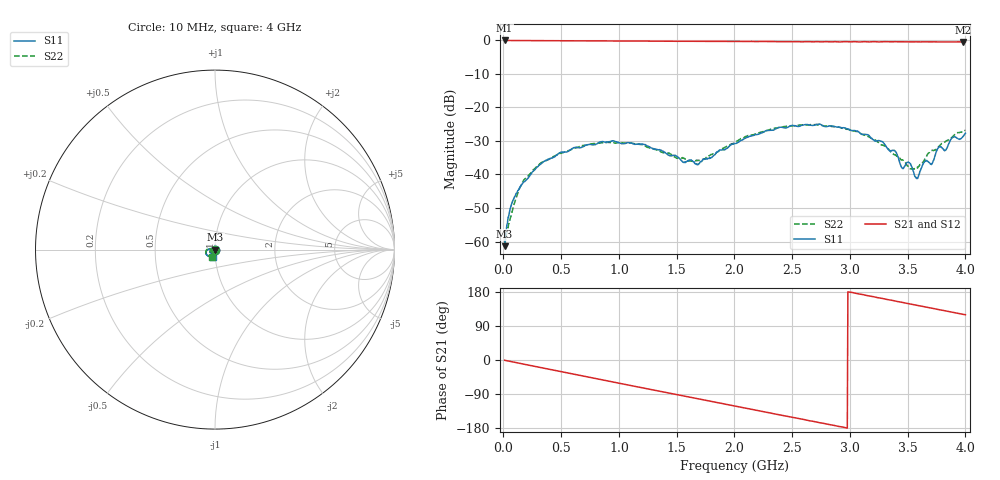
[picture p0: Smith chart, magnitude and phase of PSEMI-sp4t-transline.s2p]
! 5/5/2016 4:41:40 PM
! C:\ANRITSUVNA\DATA\PSEMI-SP4T-TRANSLINE.S2P
! CHANNEL.1
! TR.MEASUREMENT
! CORRECTED.DATA
# GHZ S RI R 50.0
! FREQ.GHZ  S11RE  S11IM  S21RE  S21IM  S12RE  S12IM  S22RE  S22IM
!; PortSelection: Port_12
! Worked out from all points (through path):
!   801 points, 10 MHz to 4 GHz, reference 50 ohm
!   highest |S21| = -0.01 dB at 10 MHz (marker M1); lowest = -0.5 dB at 3.98 GHz (marker M2)
!   group delay of S21, straight-line fit = 167 ps
!   lowest |S11| = -61.4 dB at 10 MHz (marker M3), VSWR 1.00, Z = 50.1 + j0.0201 ohm
!   |S11| at or under -10 dB: start of sweep to end of sweep
!   |S22| runs from -60.7 to -25.1 dB; largest |S21 - S12| = 0.004
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0.01  0.000829 0.0002  0.9993 -0.0116  0.9988 -0.0117  0.000911 0.000118
0.0748375  0.00311 -0.00222  0.9939 -0.0824  0.9936 -0.0824  0.00185 -0.0021
0.1845625  0.00241 -0.00747  0.9751 -0.1984  0.9745 -0.1983  0.00301 -0.00803
0.3641125  -0.00119 -0.0161  0.916 -0.38  0.9158 -0.3797  -0.00175 -0.0159
0.678325  -0.0157 -0.0202  0.7376 -0.6551  0.7376 -0.6547  -0.0162 -0.0214
0.9526375  -0.0272 -0.0162  0.5165 -0.8353  0.5171 -0.8352  -0.0261 -0.0145
1.341662  -0.0229 -0.0049  0.1398 -0.9653  0.1406 -0.965  -0.0222 -0.00534
1.675825  -0.0101 -0.00965  -0.1987 -0.9495  -0.1975 -0.9494  -0.0118 -0.0109
2.005  -0.0104 -0.0269  -0.5065 -0.8236  -0.5057 -0.8227  -0.015 -0.0262
2.389038  -0.0332 -0.0382  -0.7826 -0.5561  -0.7844 -0.5565  -0.0371 -0.0343
2.673325  -0.0471 -0.0263  -0.9026 -0.303  -0.9034 -0.3048  -0.0512 -0.0219
3.057362  -0.0443 -0.0035  -0.952 0.0769  -0.9495 0.0771  -0.0438 0.00134
3.336663  -0.023 0.00312  -0.8874 0.3414  -0.8871 0.3394  -0.0234 0.00467
3.396513  -0.0219 0.000129  -0.8675 0.4003  -0.8667 0.398  -0.0194 0.00115
3.451375  -0.0126 -0.000737  -0.8443 0.444  -0.8442 0.4448  -0.0164 -0.00247
3.516212  -0.0144 -0.00382  -0.8094 0.5008  -0.8114 0.5001  -0.0117 -0.00547
3.58105  -0.0071 -0.00512  -0.7721 0.5569  -0.7717 0.5556  -0.00877 -0.00922
3.645888  -0.00634 -0.0141  -0.7348 0.6082  -0.7348 0.6076  -0.00871 -0.0141
3.715712  -0.00397 -0.0145  -0.6902 0.6572  -0.6891 0.6573  -0.0074 -0.0218
3.770575  -0.00244 -0.0256  -0.6463 0.6952  -0.6476 0.6951  -0.00759 -0.0249
3.98005  -0.00992 -0.0358  -0.4811 0.8169  -0.4798 0.8193  -0.017 -0.0401
4  -0.0113 -0.0396  -0.466 0.8263  -0.4629 0.8255  -0.0183 -0.0414
